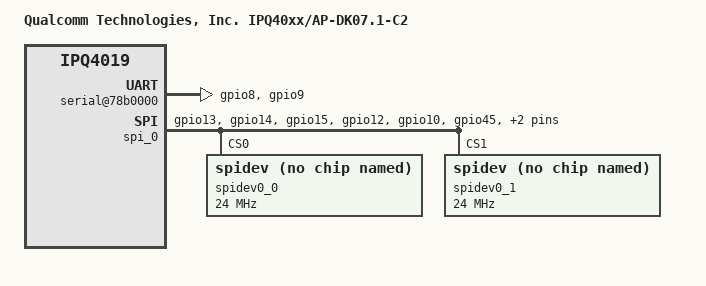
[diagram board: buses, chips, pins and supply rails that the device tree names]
// SPDX-License-Identifier: GPL-2.0
// Copyright (c) 2017, The Linux Foundation. All rights reserved.

#include "qcom-ipq4019-ap.dk07.1.dtsi"

/ {
	model = "Qualcomm Technologies, Inc. IPQ40xx/AP-DK07.1-C2";

	soc {
		pcie0: pci@40000000 {
			status = "disabled";
		};

		pinctrl@1000000 {
			serial_1_pins: serial1_pinmux {
				mux {
					pins = "gpio8", "gpio9";
					function = "blsp_uart1";
					bias-disable;
				};
			};

			spi_0_pins: spi_0_pinmux {
				mux {
					pins = "gpio13", "gpio14", "gpio15";
					function = "blsp_spi0";
					bias-disable;
				};
				cs1 {
					pins = "gpio12";
					function = "gpio";
				};
				host_int1 {
					pins = "gpio10";
					function = "gpio";
					input;
				};
				cs2 {
					pins = "gpio45";
					function = "gpio";
				};
				host_int2 {
					pins = "gpio61";
					function = "gpio";
					input;
				};
				rst {
					pins = "gpio36";
					function = "gpio";
					output-high;
				};
			};
		};

		serial@78b0000 {
			pinctrl-0 = <&serial_1_pins>;
			pinctrl-names = "default";
			status = "ok";
		};

		spi_0: spi@78b5000 { /* BLSP1 QUP1 */
			pinctrl-0 = <&spi_0_pins>;
			pinctrl-names = "default";
			status = "ok";

			spidev0_0 {
				compatible = "spidev";
				reg = <0>;
				spi-max-frequency = <24000000>;
			};
			spidev0_1 {
				compatible = "spidev";
				reg = <1>;
				spi-max-frequency = <24000000>;
			};
		};
	};
};
